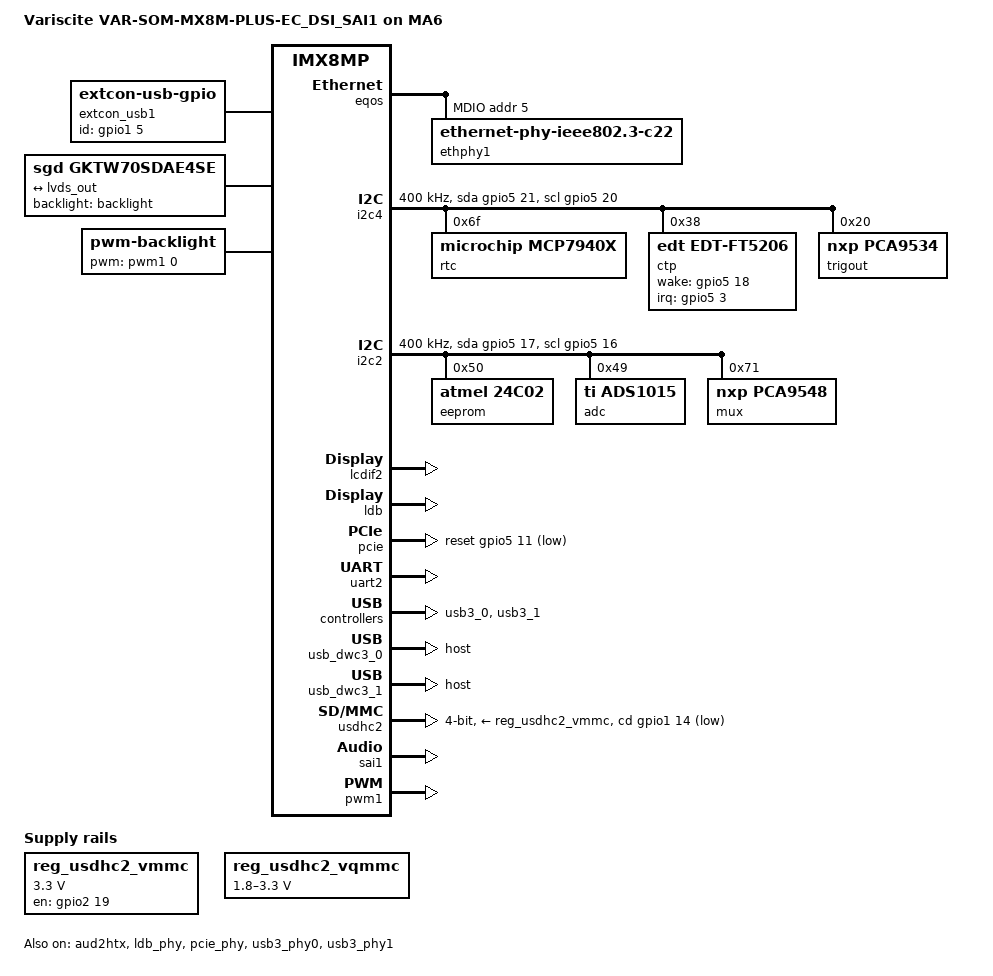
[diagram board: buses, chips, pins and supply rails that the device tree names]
// SPDX-License-Identifier: (GPL-2.0+ OR MIT)
/*
 * Copyright 2019 NXP
 * Copyright 2020-2021 Variscite Ltd.
 */

 #include <dt-bindings/mux/mux.h>
 #include "imx8mp-var-som-ec_dsi_sai1.dtsi"

/ {
	model = "Variscite VAR-SOM-MX8M-PLUS-EC_DSI_SAI1 on MA6";

	chosen {
		stdout-path = &uart2;
	};

	reg_usdhc2_vmmc: regulator-usdhc2-vmmc {
		compatible = "regulator-fixed";
		pinctrl-names = "default";
		pinctrl-0 = <&pinctrl_reg_usdhc2_vmmc>;
		regulator-name = "VSD_3V3";
		regulator-min-microvolt = <3300000>;
		regulator-max-microvolt = <3300000>;
		gpio = <&gpio2 19 GPIO_ACTIVE_HIGH>;
		enable-active-high;
		startup-delay-us = <100>;
		off-on-delay-us = <12000>;
	};

	reg_usdhc2_vqmmc: regulator-usdhc2-vqmmc {
		compatible = "regulator-gpio";
		regulator-name = "VSD_VSEL";
		regulator-min-microvolt = <1800000>;
		regulator-max-microvolt = <3300000>;
		gpio = <&gpio2 12 GPIO_ACTIVE_HIGH>;
		gpios-states = <1>;
		states = <3300000 0
			  1800000 1>;
	};

	dummy_codec1: dummy-codec1 {
		#sound-dai-cells = <0>;
		compatible = "linux,dummy-codec";
		status = "okay";
	};

	sound-dummy-1 {
		compatible = "simple-audio-card";
		simple-audio-card,bitclock-master = <&dailink_master_1>;
		simple-audio-card,format = "i2s";
		simple-audio-card,frame-master = <&dailink_master_1>;
		simple-audio-card,name = "dummy-audio-1";

		simple-audio-card,codec {
			sound-dai = <&dummy_codec1>;
		};

		dailink_master_1: simple-audio-card,cpu {
			sound-dai = <&sai1>;
			dai-tdm-slot-num = <2>;
			dai-tdm-slot-width = <32>;
		};
	};

	extcon_usb1: extcon_usb1 {
		compatible = "linux,extcon-usb-gpio";
		pinctrl-names = "default";
		pinctrl-0 = <&pinctrl_extcon>;
		id-gpio = <&gpio1 5 GPIO_ACTIVE_HIGH>;
		status = "okay";
	};

	parallel_panel {
		compatible = "sgd,gktw70sdae4se", "panel-lvds";
		backlight = <&backlight>;
		width-mm = <95>;
		height-mm = <50>;
		label = "gktw70sdae4se";
		data-mapping = "vesa-24";  // jeida-24, jeida-18, vesa-24 (jeida-24 worked with proto PCB)
		status = "okay";

		panel-timing {
			clock-frequency = <8735295>;
			hactive = <480>;
			hback-porch = <43>;
			hfront-porch = <8>;
			hsync-len = <4>;
			vactive = <272>;
			vback-porch = <12>;
			vfront-porch = <8>;
			vsync-len = <4>;

			hsync-active = <0>;
			vsync-active = <0>;
			de-active = <1>;
			pixelclk-active = <1>;
		};

		port {
			panel_in: endpoint {
				remote-endpoint = <&lvds_out>;
			};
		};
	};

	backlight: backlight {
		compatible = "pwm-backlight";
		pwms = <&pwm1 0 1000000>;
		status = "okay";

		brightness-levels = < 0  1  2  3  4  5  6  7  8  9
				     10 11 12 13 14 15 16 17 18 19
				     20 21 22 23 24 25 26 27 28 29
				     30 31 32 33 34 35 36 37 38 39
				     40 41 42 43 44 45 46 47 48 49
				     50 51 52 53 54 55 56 57 58 59
				     60 61 62 63 64 65 66 67 68 69
				     70 71 72 73 74 75 76 77 78 79
				     80 81 82 83 84 85 86 87 88 89
				     90 91 92 93 94 95 96 97 98 99
				    100>;
		default-brightness-level = <80>;
	};
};

&aud2htx {
	status = "okay";
};

&eqos {
	mdio {
		ethphy1: ethernet-phy@5 {
			compatible = "ethernet-phy-ieee802.3-c22";
			reg = <5>;
			at803x,eee-disabled;
			at803x,vddio-1p8v;
			eee-broken-1000t;
		};
	};
};

&i2c4 {
	clock-frequency = <400000>;
	pinctrl-names = "default";
	pinctrl-0 = <&pinctrl_i2c4>;
	scl-gpios = <&gpio5 20 (GPIO_ACTIVE_HIGH|GPIO_OPEN_DRAIN)>;
	sda-gpios = <&gpio5 21 (GPIO_ACTIVE_HIGH|GPIO_OPEN_DRAIN)>;
	status = "okay";

	/* mcp7940x RTC module */
	rtc@6f {
		compatible = "microchip,mcp7940x";
		microchip,clock-output = <32768>;
		reg = <0x6f>;
		status = "okay";
	};

	/* Capacitive touch controller */
	ctp: ctp@38 {
		compatible = "edt,edt-ft5206";
		reg = <0x38>;
		pinctrl-names = "default";
		pinctrl-0 = <&pinctrl_ctp>;
		interrupt-parent = <&gpio5>;
		interrupts = <3 IRQ_TYPE_EDGE_FALLING>;
		wake-gpios = <&gpio5 18 GPIO_ACTIVE_HIGH>;
		touchscreen-min-x = <0>;
		touchscreen-size-x = <480>;
		touchscreen-min-y = <0>;
		touchscreen-size-y = <272>;
		wakeup-source;
		status = "okay";
	};

	trigout: trigout@20 {
		compatible = "nxp,pca9534";
		reg = <0x20>;
		gpio-controller;
		pinctrl-names = "default";
		#gpio-cells = <2>;
		gpio-line-names = "trigout1", "trigout2", "trigout3", "trigout4", "trigout5", "trigout6", "trigout7", "trigout8";
		status = "okay";
	};

	pi6cfgl601b@69 {
		compatible = "dummy";
		reg = <0x69>;
		status = "okay";
	};
};

&i2c2 {
	clock-frequency = <400000>;
	pinctrl-names = "default";
	pinctrl-0 = <&pinctrl_i2c2>;
	scl-gpios = <&gpio5 16 (GPIO_ACTIVE_HIGH|GPIO_OPEN_DRAIN)>;
	sda-gpios = <&gpio5 17 (GPIO_ACTIVE_HIGH|GPIO_OPEN_DRAIN)>;
	status = "okay";

	mfi@10 {
		compatible = "dummy";
		reg = <0x10>;
		status = "okay";
	};

	eeprom@50 {
		compatible = "atmel,24c02";
		reg = <0x50>;
		pagesize = <16>;
		// read-only;
		size = <256>;
		status = "okay";
	};

	adc@49 {
		compatible = "ti,ads1015";  // TLS2024 is compatible (enough) with ads1015
		reg = <0x49>;
		#address-cells = <1>;
		#size-cells = <0>;
		channel@0 {
			reg = <4>;      // AIN0-GND
			gain = <2>;     // 2.048V (default)
			datarate = <4>; // 1600Hz (default)
		};
		channel@1 {
			reg = <5>;      // AIN1-GND
			gain = <2>;     // 2.048V (default)
			datarate = <4>; // 1600Hz (default)
		};
		channel@2 {
			reg = <6>;      // AIN2-GND
			gain = <2>;     // 2.048V (default)
			datarate = <4>; // 1600Hz (default)
		};
		channel@3 {
			reg = <7>;      // AIN3-GND
			gain = <2>;     // 2.048V (default)
			datarate = <4>; // 1600Hz (default)
		};
	};

	mux@71 {
		compatible = "nxp,pca9548";
		reg = <0x71>;
		#address-cells = <1>;
		#size-cells = <0>;
		idle-state =  <MUX_IDLE_AS_IS>;

		i2c@0 {
			#address-cells = <1>;
			#size-cells = <0>;
			reg = <0>;

			o1_es9033: es9033@48 {
				compatible = "dummy";
				reg = <0x48>;
				status = "okay";
			};

			o1_es9033_sync: es9033@4c {  // before es9033 has clock initialized, _sync address must be used for write-only initialization of clock registers
				compatible = "dummy";
				reg = <0x4c>;
				status = "okay";
			};

			i1_es9820: es9820@20 {
				compatible = "dummy";
				reg = <0x20>;
				status = "okay";
			};

			i1_es9820_sync: es9820@24 {  // before es9820 has clock initialized, _sync address must be used for write-only initialization of clock registers
				compatible = "dummy";
				reg = <0x24>;
				status = "okay";
			};
		};

		i2c@1 {
			#address-cells = <1>;
			#size-cells = <0>;
			reg = <0>;

			o2_es9033: es9033@48 {
				compatible = "dummy";
				reg = <0x48>;
				status = "okay";
			};

			o2_es9033_sync: es9033@4c {  // before es9033 has clock initialized, _sync address must be used for write-only initialization of clock registers
				compatible = "dummy";
				reg = <0x4c>;
				status = "okay";
			};

			i2_es9820: es9820@20 {
				compatible = "dummy";
				reg = <0x20>;
				status = "okay";
			};

			i2_es9820_sync: es9820@24 {  // before es9820 has clock initialized, _sync address must be used for write-only initialization of clock registers
				compatible = "dummy";
				reg = <0x24>;
				status = "okay";
			};
		};

		i2c@2 {
			#address-cells = <1>;
			#size-cells = <0>;
			reg = <0>;

			o3_es9033: es9033@48 {
				compatible = "dummy";
				reg = <0x48>;
				status = "okay";
			};

			o3_es9033_sync: es9033@4c {  // before es9033 has clock initialized, _sync address must be used for write-only initialization of clock registers
				compatible = "dummy";
				reg = <0x4c>;
				status = "okay";
			};

			i3_es9820: es9820@20 {
				compatible = "dummy";
				reg = <0x20>;
				status = "okay";
			};

			i3_es9820_sync: es9820@24 {  // before es9820 has clock initialized, _sync address must be used for write-only initialization of clock registers
				compatible = "dummy";
				reg = <0x24>;
				status = "okay";
			};
		};

		i2c@3 {
			#address-cells = <1>;
			#size-cells = <0>;
			reg = <0>;

			o4_es9033: es9033@48 {
				compatible = "dummy";
				reg = <0x48>;
				status = "okay";
			};

			o4_es9033_sync: es9033@4c {  // before es9033 has clock initialized, _sync address must be used for write-only initialization of clock registers
				compatible = "dummy";
				reg = <0x4c>;
				status = "okay";
			};

			i4_es9820: es9820@20 {
				compatible = "dummy";
				reg = <0x20>;
				status = "okay";
			};

			i4_es9820_sync: es9820@24 {  // before es9820 has clock initialized, _sync address must be used for write-only initialization of clock registers
				compatible = "dummy";
				reg = <0x24>;
				status = "okay";
			};
		};

		i2c@4 {
			#address-cells = <1>;
			#size-cells = <0>;
			reg = <0>;

			o5_es9033: es9033@48 {
				compatible = "dummy";
				reg = <0x48>;
				status = "okay";
			};

			o5_es9033_sync: es9033@4c {  // before es9033 has clock initialized, _sync address must be used for write-only initialization of clock registers
				compatible = "dummy";
				reg = <0x4c>;
				status = "okay";
			};

			i5_src4392: src4392@70 {
				compatible = "dummy";
				reg = <0x70>;
				status = "okay";
			};
		};

		i2c@5 {
			#address-cells = <1>;
			#size-cells = <0>;
			reg = <0>;

			o6_es9033: es9033@48 {
				compatible = "dummy";
				reg = <0x48>;
				status = "okay";
			};

			o6_es9033_sync: es9033@4c {  // before es9033 has clock initialized, _sync address must be used for write-only initialization of clock registers
				compatible = "dummy";
				reg = <0x4c>;
				status = "okay";
			};

			i6_src4392: src4392@70 {
				compatible = "dummy";
				reg = <0x70>;
				status = "okay";
			};
		};

		i2c@6 {
			#address-cells = <1>;
			#size-cells = <0>;
			reg = <0>;

			o7_es9033: es9033@48 {
				compatible = "dummy";
				reg = <0x48>;
				status = "okay";
			};

			o7_es9033_sync: es9033@4c {  // before es9033 has clock initialized, _sync address must be used for write-only initialization of clock registers
				compatible = "dummy";
				reg = <0x4c>;
				status = "okay";
			};

			o7_src4392: src4392@72 {
				compatible = "dummy";
				reg = <0x72>;
				status = "okay";
			};

			i7_src4392: src4392@70 {
				compatible = "dummy";
				reg = <0x70>;
				status = "okay";
			};
		};

		i2c@7 {
			#address-cells = <1>;
			#size-cells = <0>;
			reg = <0>;

			o8_es9033: es9033@48 {
				compatible = "dummy";
				reg = <0x48>;
				status = "okay";
			};

			o8_es9033_sync: es9033@4c {  // before es9033 has clock initialized, _sync address must be used for write-only initialization of clock registers
				compatible = "dummy";
				reg = <0x4c>;
				status = "okay";
			};

			o8_src4392: src4392@72 {
				compatible = "dummy";
				reg = <0x72>;
				status = "okay";
			};

			i8_src4392: src4392@70 {
				compatible = "dummy";
				reg = <0x70>;
				status = "okay";
			};
		};
	};
};

/* LVDS */
&lcdif2 {
	status = "okay";
};

&ldb {
	status = "okay";

	lvds-channel@0 {
		fsl,data-mapping = "spwg";  // jeida, spwg, spwg  (jeida worked on Proto PCB)
		fsl,data-width = <24>;       //    24,   24,   18  (24 worked on Progo PCB)
		status = "okay";

		port@1 {
			reg = <1>;

			lvds_out: endpoint {
				remote-endpoint = <&panel_in>;
			};
		};
	};
};

&ldb_phy {
	status = "okay";
};

&pcie {
	pinctrl-names = "default";
	pinctrl-0 = <&pinctrl_pcie>;
	reset-gpio = <&gpio5 11 GPIO_ACTIVE_LOW>;
	ext_osc = <1>;
	clocks = <&clk IMX8MP_CLK_HSIO_ROOT>,
		 <&clk IMX8MP_CLK_PCIE_AUX>,
		 <&clk IMX8MP_CLK_HSIO_AXI>,
		 <&clk IMX8MP_CLK_PCIE_ROOT>;
	clock-names = "pcie", "pcie_aux", "pcie_phy", "pcie_bus";
	assigned-clocks = <&clk IMX8MP_CLK_HSIO_AXI>,
			  <&clk IMX8MP_CLK_PCIE_AUX>;
	assigned-clock-rates = <500000000>, <10000000>;
	assigned-clock-parents = <&clk IMX8MP_SYS_PLL2_500M>,
				 <&clk IMX8MP_SYS_PLL2_50M>;
	l1ss-disabled;
	status = "okay";
};

&pcie_phy {
	ext_osc = <1>;
	status = "okay";
};

/* Console */
&uart2 {
	pinctrl-names = "default";
	pinctrl-0 = <&pinctrl_uart2>;
	status = "okay";
};

&usb3_phy0 {
	status = "okay";
};

&usb3_0 {
	status = "okay";
};

&usb_dwc3_0 {
	dr_mode = "host";
	extcon = <&extcon_usb1>;
	status = "okay";
};

&usb3_phy1 {
	status = "okay";
};

&usb3_1 {
	status = "okay";
};

&usb_dwc3_1 {
	dr_mode = "host";
	status = "okay";
};

&usdhc2 {
	pinctrl-names = "default", "state_100mhz", "state_200mhz";
	pinctrl-0 = <&pinctrl_usdhc2>, <&pinctrl_usdhc2_gpio>;
	pinctrl-1 = <&pinctrl_usdhc2_100mhz>, <&pinctrl_usdhc2_gpio>;
	pinctrl-2 = <&pinctrl_usdhc2_200mhz>, <&pinctrl_usdhc2_gpio>;
	cd-gpios = <&gpio1 14 GPIO_ACTIVE_LOW>;
	vmmc-supply = <&reg_usdhc2_vmmc>;
	vqmmc-supply = <&reg_usdhc2_vqmmc>;
	bus-width = <4>;
	status = "okay";
};

&sai1 {
	#sound-dai-cells = <0>;
	pinctrl-names = "default";
	pinctrl-0 = <&pinctrl_sai1>;
	assigned-clocks = <&clk IMX8MP_CLK_SAI1>;
	assigned-clock-parents = <&clk IMX8MP_AUDIO_PLL1_OUT>;
	assigned-clock-rates = <24576000>;
	clocks = 
		 <&audio_blk_ctrl IMX8MP_CLK_AUDIO_BLK_CTRL_SAI1_IPG>, 
		 <&clk IMX8MP_CLK_DUMMY>,
		 <&audio_blk_ctrl IMX8MP_CLK_AUDIO_BLK_CTRL_SAI1_MCLK1>, 
		 <&clk IMX8MP_CLK_DUMMY>,
		 <&clk IMX8MP_CLK_DUMMY>,
		 <&clk IMX8MP_AUDIO_PLL1_OUT>,
		 <&clk IMX8MP_AUDIO_PLL2_OUT>;
	clock-names = "bus", "mclk0", "mclk1", "mclk2", "mclk3", "pll8k", "pll11k";
	fsl,sai-asynchronous;
	fsl,sai-multi-lane;
	fsl,dataline = <0 0xff 0xff>;
	dmas = <&sdma2 0 25 0>, <&sdma2 1 25 0>;
	status = "okay";
};

&pwm1 {
	pinctrl-names = "default";
	pinctrl-0 = <&pinctrl_pwm1>;
	status = "okay";
};


&gpio1 {
	gpio-line-names = 
		"",                      // 000 GPIO1_IO00
		"",                      // 001 GPIO1_IO01
		"WDOG_B",                // 002 GPIO1_IO02
		"",                      // 003 GPIO1_IO03
		"",                      // 004 GPIO1_IO04
		"ID",                    // 005 GPIO1_IO05
		"",                      // 006 GPIO1_IO06
		"",                      // 007 GPIO1_IO07
		"",                      // 008 GPIO1_IO08
		"",                      // 009 GPIO1_IO09
		"EQOS_RESET",            // 010 GPIO1_IO10
		"factory_n",             // 011 GPIO1_IO11 (pin 69)
		"",                      // 012 GPIO1_IO12
		"",                      // 013 GPIO1_IO13
		"USDHC2_CD",             // 014 GPIO1_IO14 (pin 80)
		"SDRESET_N",             // 015 GPIO1_IO15 (pin 29)
		"ENET_MDC",              // 016 GPIO1_IO16 (pin 74)
		"ENET_MDIO" ,            // 017 GPIO1_IO17 (pin 30)
		"ENET_TD3",              // 018 GPIO1_IO18
		"ENET_TD2",              // 019 GPIO1_IO19
		"ENET_TD1",              // 020 GPIO1_IO20
		"ENET_TD0",              // 021 GPIO1_IO21
		"ENET_TX_CTL",           // 022 GPIO1_IO22
		"ENET_TX_CLK",           // 023 GPIO1_IO23
		"ENET_RX_CTL",           // 024 GPIO1_IO24
		"ENET_RX_CLK",           // 025 GPIO1_IO25
		"ENET_RD0",              // 026 GPIO1_IO26
		"ENET_RD1",              // 027 GPIO1_IO27
		"ENET_RD2",              // 028 GPIO1_IO28
		"ENET_RD3",              // 029 GPIO1_IO29
		"",                      // 030 GPIO1_IO30
		"";                      // 031 GPIO1_IO31
};
&gpio2 {
	gpio-line-names = 
		"",                      // 032 GPIO2_IO00
		"",                      // 033 GPIO2_IO01
		"",                      // 034 GPIO2_IO02
		"",                      // 035 GPIO2_IO03
		"",                      // 036 GPIO2_IO04
		"",                      // 037 GPIO2_IO05
		"I2C1_SCL",              // 038 GPIO2_IO06
		"I2C1_SDA",              // 039 GPIO2_IO07
		"",                      // 040 GPIO2_IO08
		"",                      // 041 GPIO2_IO09
		"",                      // 042 GPIO2_IO10
		"",                      // 043 GPIO2_IO11
		"VSD_SEL",               // 044 GPIO2_IO12
		"USDHC2_CLK",            // 045 GPIO2_IO13 (pin 60)
		"USDHC2_CMD",            // 046 GPIO2_IO14 (pin 64)
		"USDHC2_D0",             // 047 GPIO2_IO15 (pin 62)
		"USDHC2_D1",             // 048 GPIO2_IO16 (pin 63)
		"USDHC2_D2",             // 049 GPIO2_IO17 (pin 61)
		"USDHC2_D3",             // 050 GPIO2_IO18 (pin 65)
		"USDHC2_VMMC",           // 051 GPIO2_IO19
		"REG_EQOS",              // 052 GPIO2_IO20
		"",                      // 053 GPIO2_IO21
		"",                      // 054 GPIO2_IO22
		"",                      // 055 GPIO2_IO23
		"",                      // 056 GPIO2_IO24
		"",                      // 057 GPIO2_IO25
		"",                      // 058 GPIO2_IO26
		"",                      // 059 GPIO2_IO27
		"",                      // 060 GPIO2_IO28
		"",                      // 061 GPIO2_IO29
		"",                      // 062 GPIO2_IO30
		"";                      // 063 GPIO2_IO31
};
&gpio3 {
	gpio-line-names = 
		"",                      // 064 GPIO3_IO00
		"",                      // 065 GPIO3_IO01
		"USDHC3_STR",            // 066 GPIO3_IO02
		"USDHC3_D5",             // 067 GPIO3_IO03
		"USDHC3_D6",             // 068 GPIO3_IO04
		"USDHC3_D7",             // 069 GPIO3_IO05
		"",                      // 070 GPIO3_IO06 (pin 84) (DO NOT USE)
		"",                      // 071 GPIO3_IO07
		"",                      // 072 GPIO3_IO08
		"",                      // 073 GPIO3_IO09
		"USDHC3_D0",             // 074 GPIO3_IO10
		"USDHC3_D1",             // 075 GPIO3_IO11
		"USDHC3_D2",             // 076 GPIO3_IO12
		"USDHC3_D3",             // 077 GPIO3_IO13
		"",                      // 078 GPIO3_IO14 (pin 79) (DO NOT USE)
		"USDHC3_D4",             // 079 GPIO3_IO15
		"",                      // 080 GPIO3_IO16
		"USDHC3_CLK",            // 081 GPIO3_IO17
		"USDHC3_CMD",            // 082 GPIO3_IO18
		"",                      // 083 GPIO3_IO19
		"",                      // 084 GPIO3_IO20
		"",                      // 085 GPIO3_IO21
		"",                      // 086 GPIO3_IO22
		"",                      // 087 GPIO3_IO23
		"",                      // 088 GPIO3_IO24
		"",                      // 089 GPIO3_IO25
		"",                      // 090 GPIO3_IO26 (pin 174)
		"",                      // 091 GPIO3_IO27 (pin 176)
		"",                      // 092 GPIO3_IO28 (pin 156)
		"",                      // 093 GPIO3_IO29 (pin 154)
		"",                      // 094 GPIO3_IO30
		"";                      // 095 GPIO3_IO31
};
&gpio4 {
	gpio-line-names= 
		"SAI1_RX_SYNC",          // 096 GPIO4_IO00 (pin 82)
		"SAI1_RX_BCLK",          // 097 GPIO4_IO01 (pin 86)
		"SAI1_RX_D00",           // 098 GPIO4_IO02 (pin 70)
		"SAI1_RX_D01",           // 099 GPIO4_IO03 (pin 117)
		"SAI1_RX_D02",           // 100 GPIO4_IO04 (pin 72)
		"SAI1_RX_D03",           // 101 GPIO4_IO05 (pin 75)
		"SAI1_RX_D04",           // 102 GPIO4_IO06 (pin 122)
		"SAI1_RX_D05",           // 103 GPIO4_IO07 (pin 81)
		"SAI1_RX_D06",           // 104 GPIO4_IO08 (pin 71)
		"SAI1_RX_D07",           // 105 GPIO4_IO09 (pin 54)
		"SAI1_TX_SYNC",          // 106 GPIO4_IO10 (pin 120)
		"SAI1_TX_BCLK",          // 107 GPIO4_IO11 (pin 57)
		"SAI1_TX_D00",           // 108 GPIO4_IO12 (pin 73)
		"SAI1_TX_D01",           // 109 GPIO4_IO13 (pin 177)
		"SAI1_TX_D02",           // 110 GPIO4_IO14 (pin 56)
		"SAI1_TX_D03",           // 111 GPIO4_IO15 (pin 55)
		"SAI1_TX_D04",           // 112 GPIO4_IO16 (pin 113)
		"SAI1_TX_D05",           // 113 GPIO4_IO17 (pin 96)
		"SAI1_TX_D06",           // 114 GPIO4_IO18 (pin 77)
		"SAI1_TX_D07",           // 115 GPIO4_IO19 (pin 173)
		"SAI1_MCLK",             // 116 GPIO4_IO20 (pin 40)
		"out_ampen",             // 117 GPIO4_IO21 (pin 23)
		"out_ready_o1",          // 118 GPIO4_IO22 (pin 22)
		"out_ready_o2",          // 119 GPIO4_IO23 (pin 21)
		"out_ready_o3",          // 120 GPIO4_IO24 (pin 24)
		"out_ready_o4",          // 121 GPIO4_IO25 (pin 25)
		"out_ready_o5",          // 122 GPIO4_IO26 (pin 26)
		"out_ready_o6",          // 123 GPIO4_IO27 (pin 48)
		"trigin1_n",             // 124 GPIO4_IO28 (pin 196)
		"trigin2_n",             // 125 GPIO4_IO29 (pin 197)
		"trigin3_n",             // 126 GPIO4_IO30 (pin 198)
		"trigin4_n";             // 127 GPIO4_IO31 (pin 199)
};
&gpio5 {
	gpio-line-names = 
		"",                      // 128 GPIO5_IO00 (pin 200)
		"",                      // 129 GPIO5_IO01 (pin 18)
		"",                      // 130 GPIO5_IO02 (pin 20)
		"CTPINT",                // 131 GPIO5_IO03 (pin 68)
		"PMIC_INT",              // 132 GPIO5_IO04
		"BL_PWM",                // 133 GPIO5_IO05 (pin 17)
		"hwid0",                 // 134 GPIO5_IO06 (pin 53)
		"hwid1",                 // 135 GPIO5_IO07 (pin 52)
		"hwid2",                 // 136 GPIO5_IO08 (pin 50)
		"hwid3",                 // 137 GPIO5_IO09 (pin 51)
		"swoff",                 // 138 GPIO5_IO10 (pin 43)
		"PCIERST_N",             // 139 GPIO5_IO11 (pin 45)
		"bootcompl",             // 140 GPIO5_IO12 (pin 41)
		"pwrled",                // 141 GPIO5_IO13 (pin 39)
		"",                      // 142 GPIO5_IO14 (pin 189)
		"",                      // 143 GPIO5_IO15 (pin 187)
		"I2C2_SCL",              // 144 GPIO5_IO16 (pin 193)
		"I2C2_SDA",              // 145 GPIO5_IO17 (pin 191)
		"CTPWAKE",               // 146 GPIO5_IO18 (pin 88)
		"",                      // 147 GPIO5_IO19 (pin 87)
		"I2C4_SCL",              // 148 GPIO5_IO20 (pin 92)
		"I2C4_SDA",              // 149 GPIO5_IO21 (pin 90)
		"hwrev0",                // 150 GPIO5_IO22 (pin 175)
		"hwrev1",                // 151 GPIO5_IO23 (pin 124)
		"UART2_RX",              // 152 GPIO5_IO24 (pin 83)
		"UART2_TX",              // 153 GPIO5_IO25 (pin 85)
		"pwroff",                // 154 GPIO5_IO26 (pin 44)
		"ampdcfault_n",          // 155 GPIO5_IO27 (pin 46)
		"amppwr_n",              // 156 GPIO5_IO28 (pin 115)
		"",                      // 157 GPIO5_IO29 (pin 171)
		"",                      // 158 GPIO5_IO30
		"";                      // 159 GPIO5_IO31
};

&iomuxc {
	pinctrl-names = "default";
	pinctrl-0 = <&pinctrl_hog>;

	pinctrl_hog: hoggrp {
		fsl,pins = <
			MX8MP_IOMUXC_GPIO1_IO11__GPIO1_IO11					0x00

			MX8MP_IOMUXC_SAI3_RXFS__GPIO4_IO28					0xc6
			MX8MP_IOMUXC_SAI3_RXC__GPIO4_IO29					0xc6
			MX8MP_IOMUXC_SAI3_RXD__GPIO4_IO30					0xc6
			MX8MP_IOMUXC_SAI3_TXFS__GPIO4_IO31					0xc6

			MX8MP_IOMUXC_ECSPI1_SCLK__GPIO5_IO06				0x00
			MX8MP_IOMUXC_ECSPI1_MOSI__GPIO5_IO07				0x00
			MX8MP_IOMUXC_ECSPI1_MISO__GPIO5_IO08				0x00
			MX8MP_IOMUXC_ECSPI1_SS0__GPIO5_IO09					0x00
			MX8MP_IOMUXC_ECSPI2_SCLK__GPIO5_IO10				0x00
			MX8MP_IOMUXC_ECSPI2_MISO__GPIO5_IO12				0xc6
			MX8MP_IOMUXC_ECSPI2_SS0__GPIO5_IO13					0xc6
			MX8MP_IOMUXC_UART1_RXD__GPIO5_IO22					0x00
			MX8MP_IOMUXC_UART1_TXD__GPIO5_IO23					0x00

			MX8MP_IOMUXC_SAI2_RXFS__GPIO4_IO21					0x00
			MX8MP_IOMUXC_SAI2_RXC__GPIO4_IO22					0x00
			MX8MP_IOMUXC_SAI2_RXD0__GPIO4_IO23					0x00
			MX8MP_IOMUXC_SAI2_TXFS__GPIO4_IO24					0x00
			MX8MP_IOMUXC_SAI2_TXC__GPIO4_IO25					0x00
			MX8MP_IOMUXC_SAI2_TXD0__GPIO4_IO26					0x00
			MX8MP_IOMUXC_SAI2_MCLK__GPIO4_IO27					0x00

			MX8MP_IOMUXC_UART3_RXD__GPIO5_IO26					0x00
			MX8MP_IOMUXC_UART3_TXD__GPIO5_IO27					0x00

			MX8MP_IOMUXC_UART4_RXD__GPIO5_IO28					0xc6

			// Unused Pins
			MX8MP_IOMUXC_I2C3_SDA__GPIO5_IO19					0x00
			MX8MP_IOMUXC_SAI3_TXC__GPIO5_IO00					0xc6
			MX8MP_IOMUXC_SAI3_TXD__GPIO5_IO01					0xc6
			MX8MP_IOMUXC_SAI3_MCLK__GPIO5_IO02					0xc6
			MX8MP_IOMUXC_UART4_TXD__GPIO5_IO29					0xc6
			MX8MP_IOMUXC_HDMI_DDC_SCL__GPIO3_IO26				0x00
			MX8MP_IOMUXC_HDMI_DDC_SDA__GPIO3_IO27				0x00
			MX8MP_IOMUXC_HDMI_CEC__GPIO3_IO28					0x00
			MX8MP_IOMUXC_HDMI_HPD__GPIO3_IO29					0x00
			MX8MP_IOMUXC_I2C1_SCL__GPIO5_IO14					0x00
			MX8MP_IOMUXC_I2C1_SDA__GPIO5_IO15					0x00
		>;
	};

	pinctrl_i2c4: i2c4grp {
		fsl,pins = <
			MX8MP_IOMUXC_I2C4_SCL__I2C4_SCL						0x400001c2
			MX8MP_IOMUXC_I2C4_SDA__I2C4_SDA						0x400001c2
		>;
	};

	pinctrl_i2c2: i2c2grp {
		fsl,pins = <
			MX8MP_IOMUXC_I2C2_SCL__I2C2_SCL						0x400001c2
			MX8MP_IOMUXC_I2C2_SDA__I2C2_SDA						0x400001c2
		>;
	};

	pinctrl_uart2: uart2grp {
		fsl,pins = <
			MX8MP_IOMUXC_UART2_RXD__UART2_DCE_RX				0x40
			MX8MP_IOMUXC_UART2_TXD__UART2_DCE_TX				0x40
		>;
	};

	pinctrl_usdhc2_gpio: usdhc2grp-gpio {
		fsl,pins = <
			MX8MP_IOMUXC_GPIO1_IO14__GPIO1_IO14 				0x1c4
			MX8MP_IOMUXC_GPIO1_IO15__GPIO1_IO15					0x10
			MX8MP_IOMUXC_SD2_CD_B__GPIO2_IO12					0xc0
		>;
	};

	pinctrl_usdhc2: usdhc2grp {
		fsl,pins = <
			MX8MP_IOMUXC_SD2_CLK__USDHC2_CLK					0x190
			MX8MP_IOMUXC_SD2_CMD__USDHC2_CMD					0x1d0
			MX8MP_IOMUXC_SD2_DATA0__USDHC2_DATA0				0x1d0
			MX8MP_IOMUXC_SD2_DATA1__USDHC2_DATA1				0x1d0
			MX8MP_IOMUXC_SD2_DATA2__USDHC2_DATA2				0x1d0
			MX8MP_IOMUXC_SD2_DATA3__USDHC2_DATA3				0x1d0
		>;
	};

	pinctrl_usdhc2_100mhz: usdhc2grp-100mhz {
		fsl,pins = <
			MX8MP_IOMUXC_SD2_CLK__USDHC2_CLK					0x194
			MX8MP_IOMUXC_SD2_CMD__USDHC2_CMD					0x1d4
			MX8MP_IOMUXC_SD2_DATA0__USDHC2_DATA0				0x1d4
			MX8MP_IOMUXC_SD2_DATA1__USDHC2_DATA1				0x1d4
			MX8MP_IOMUXC_SD2_DATA2__USDHC2_DATA2				0x1d4
			MX8MP_IOMUXC_SD2_DATA3__USDHC2_DATA3				0x1d4
		>;
	};

	pinctrl_usdhc2_200mhz: usdhc2grp-200mhz {
		fsl,pins = <
			MX8MP_IOMUXC_SD2_CLK__USDHC2_CLK					0x196
			MX8MP_IOMUXC_SD2_CMD__USDHC2_CMD					0x1d6
			MX8MP_IOMUXC_SD2_DATA0__USDHC2_DATA0				0x1d6
			MX8MP_IOMUXC_SD2_DATA1__USDHC2_DATA1				0x1d6
			MX8MP_IOMUXC_SD2_DATA2__USDHC2_DATA2				0x1d6
			MX8MP_IOMUXC_SD2_DATA3__USDHC2_DATA3				0x1d6
		>;
	};

	pinctrl_ctp: ctpgrp {
		fsl,pins = <
			MX8MP_IOMUXC_SPDIF_TX__GPIO5_IO03 					0x16
			MX8MP_IOMUXC_I2C3_SCL__GPIO5_IO18					0x01
		>;
	};

	pinctrl_pcie: pciegrp {
		fsl,pins = <
			MX8MP_IOMUXC_ECSPI2_MOSI__GPIO5_IO11				0x40
		>;
	};

	pinctrl_sai1: sai1grp {
		fsl,pins = <
			MX8MP_IOMUXC_SAI1_MCLK__AUDIOMIX_SAI1_MCLK			0xd6
			MX8MP_IOMUXC_SAI1_RXFS__AUDIOMIX_SAI1_RX_SYNC		0xd6
			MX8MP_IOMUXC_SAI1_RXC__AUDIOMIX_SAI1_RX_BCLK		0xd6
			MX8MP_IOMUXC_SAI1_RXD0__AUDIOMIX_SAI1_RX_DATA00		0xd6
			MX8MP_IOMUXC_SAI1_RXD1__AUDIOMIX_SAI1_RX_DATA01		0xd6
			MX8MP_IOMUXC_SAI1_RXD2__AUDIOMIX_SAI1_RX_DATA02		0xd6
			MX8MP_IOMUXC_SAI1_RXD3__AUDIOMIX_SAI1_RX_DATA03		0xd6
			MX8MP_IOMUXC_SAI1_RXD4__AUDIOMIX_SAI1_RX_DATA04		0xd6
			MX8MP_IOMUXC_SAI1_RXD5__AUDIOMIX_SAI1_RX_DATA05		0xd6
			MX8MP_IOMUXC_SAI1_RXD6__AUDIOMIX_SAI1_RX_DATA06		0xd6
			MX8MP_IOMUXC_SAI1_RXD7__AUDIOMIX_SAI1_RX_DATA07		0xd6
			MX8MP_IOMUXC_SAI1_TXFS__AUDIOMIX_SAI1_TX_SYNC		0xd6
			MX8MP_IOMUXC_SAI1_TXC__AUDIOMIX_SAI1_TX_BCLK		0xd6
			MX8MP_IOMUXC_SAI1_TXD0__AUDIOMIX_SAI1_TX_DATA00		0xd6
			MX8MP_IOMUXC_SAI1_TXD1__AUDIOMIX_SAI1_TX_DATA01		0xd6
			MX8MP_IOMUXC_SAI1_TXD2__AUDIOMIX_SAI1_TX_DATA02		0xd6
			MX8MP_IOMUXC_SAI1_TXD3__AUDIOMIX_SAI1_TX_DATA03		0xd6
			MX8MP_IOMUXC_SAI1_TXD4__AUDIOMIX_SAI1_TX_DATA04		0xd6
			MX8MP_IOMUXC_SAI1_TXD5__AUDIOMIX_SAI1_TX_DATA05		0xd6
			MX8MP_IOMUXC_SAI1_TXD6__AUDIOMIX_SAI1_TX_DATA06		0xd6
			MX8MP_IOMUXC_SAI1_TXD7__AUDIOMIX_SAI1_TX_DATA07		0xd6
		>;
	};

	pinctrl_extcon: extcongrp {
		fsl,pins = <
			MX8MP_IOMUXC_GPIO1_IO05__GPIO1_IO05				0x10
		>;
	};

	pinctrl_pwm1: pwm1grp {
		fsl,pins = <
			MX8MP_IOMUXC_SPDIF_EXT_CLK__PWM1_OUT				0x116
		>;
	};

	pinctrl_reg_usdhc2_vmmc: regusdhc2vmmcgrp {
		fsl,pins = <
			MX8MP_IOMUXC_SD2_RESET_B__GPIO2_IO19	0x41
		>;
	};
};
